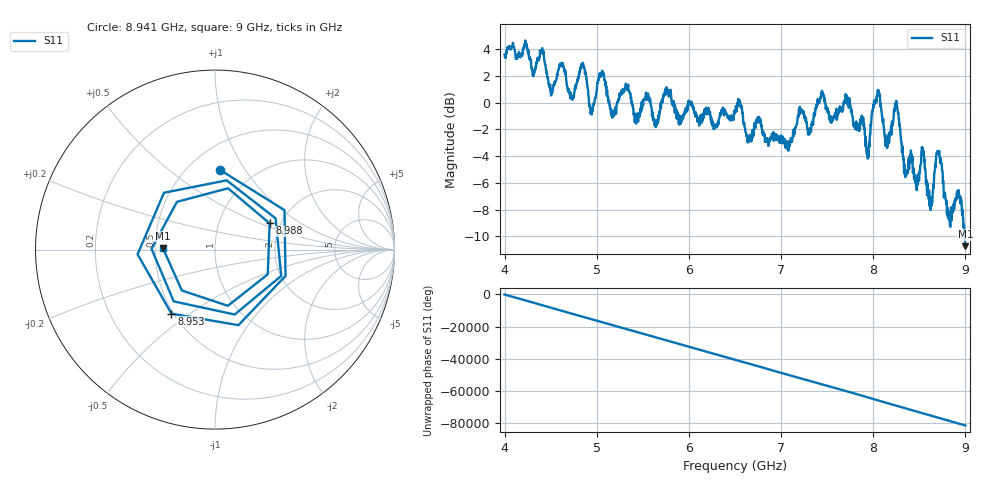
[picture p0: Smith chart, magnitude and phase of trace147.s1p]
! Created with skrf 1.8.0 (http://scikit-rf.org).
# Hz S RI R 50.0
!freq ReS11 ImS11
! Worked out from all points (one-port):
!   1601 points, 4 GHz to 9 GHz, reference 50 ohm
!   lowest |S11| = -10.7 dB at 9 GHz (marker M1), VSWR 1.82, Z = 27.5 + j0.505 ohm
!   |S11| at or under -10 dB: 8.994506 GHz to end of sweep
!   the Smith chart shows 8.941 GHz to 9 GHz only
!   S11 on the Smith chart (normalised r, x): 8.941 GHz: 0.70, +0.78; 8.953 GHz: 0.49, -0.43; 8.988 GHz: 1.75, +0.58; 9 GHz: 0.55, +0.01
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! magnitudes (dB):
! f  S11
! 4 GHz  3.6
! 4.406 GHz  4.0
! 4.503 GHz  0.5
! 4.625 GHz  2.7
! 4.728 GHz  0.4
! 4.856 GHz  2.7
! 4.944 GHz  -0.9
! 5.053 GHz  2.1
! 5.162 GHz  -1.0
! 5.25 GHz  0.4
! 5.875 GHz  -0.8
! 6.5 GHz  -0.7
! 7.125 GHz  -2.6
! 7.441 GHz  0.6
! 7.75 GHz  -0.2
! 7.938 GHz  -4.0
! 8.041 GHz  0.4
! 8.147 GHz  -3.0
! 8.25 GHz  0.1
! 8.375 GHz  -5.3
! 8.541 GHz  -3.9
! 8.619 GHz  -7.1
! 8.706 GHz  -3.7
! 8.825 GHz  -8.4
! 8.941 GHz  -7.0
! 8.953 GHz  -7.3
! 8.988 GHz  -9.4
! 9 GHz  -10.7
